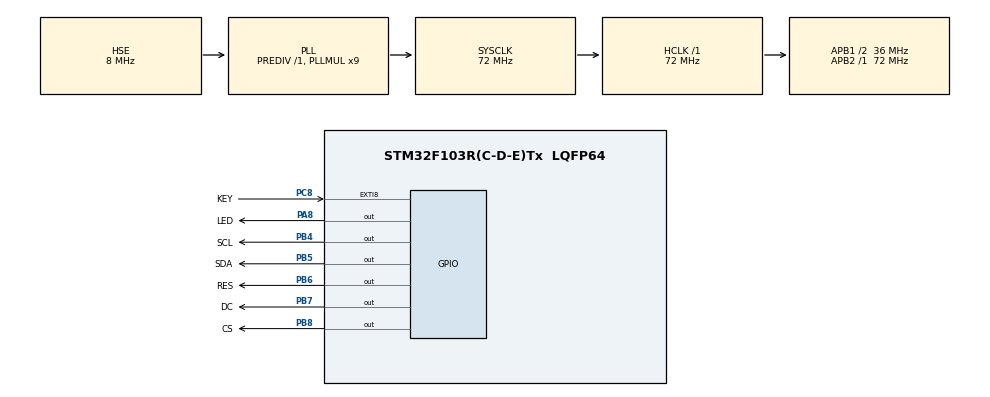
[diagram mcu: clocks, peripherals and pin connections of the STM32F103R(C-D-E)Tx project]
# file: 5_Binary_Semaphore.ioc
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FREERTOS.Tasks01=defaultTask,0,128,StartDefaultTask,Default,NULL,Dynamic,NULL,NULL
Mcu.Family=STM32F1
Mcu.Name=STM32F103R(C-D-E)Tx
Mcu.Package=LQFP64
NVIC.EXTI9_5_IRQn=true\:5\:0\:false\:false\:true\:true\:true\:true\:true
NVIC.PriorityGroup=NVIC_PRIORITYGROUP_4
NVIC.TIM8_UP_IRQn=true\:15\:0\:false\:false\:true\:false\:false\:true\:true
NVIC.TimeBase=TIM8_UP_IRQn
NVIC.TimeBaseIP=TIM8
PA13.Mode=Serial_Wire
PA13.Signal=SYS_JTMS-SWDIO
PA14.Mode=Serial_Wire
PA14.Signal=SYS_JTCK-SWCLK
PA8.GPIO_Label=LED
PA8.Signal=GPIO_Output
PB4.GPIO_Label=SCL
PB4.GPIO_Speed=GPIO_SPEED_FREQ_HIGH
PB4.Signal=GPIO_Output
PB5.GPIO_Label=SDA
PB5.GPIO_Speed=GPIO_SPEED_FREQ_HIGH
PB5.Signal=GPIO_Output
PB6.GPIO_Label=RES
PB6.GPIO_Speed=GPIO_SPEED_FREQ_HIGH
PB6.Signal=GPIO_Output
PB7.GPIO_Label=DC
PB7.GPIO_Speed=GPIO_SPEED_FREQ_HIGH
PB7.Signal=GPIO_Output
PB8.GPIO_Label=CS
PB8.GPIO_Speed=GPIO_SPEED_FREQ_HIGH
PB8.Signal=GPIO_Output
PC8.GPIO_Label=KEY
PC8.GPIO_PuPd=GPIO_PULLUP
PC8.Signal=GPXTI8
PD0-OSC_IN.Mode=HSE-External-Oscillator
PD0-OSC_IN.Signal=RCC_OSC_IN
PD1-OSC_OUT.Mode=HSE-External-Oscillator
PD1-OSC_OUT.Signal=RCC_OSC_OUT
ProjectManager.HeapSize=0x200
ProjectManager.StackSize=0x400
ProjectManager.TargetToolchain=Makefile
RCC.AHBFreq_Value=72000000
RCC.APB1CLKDivider=RCC_HCLK_DIV2
RCC.APB1Freq_Value=36000000
RCC.APB1TimFreq_Value=72000000
RCC.APB2Freq_Value=72000000
RCC.APB2TimFreq_Value=72000000
RCC.HCLKFreq_Value=72000000
RCC.PLLMUL=RCC_PLL_MUL9
RCC.PLLSourceVirtual=RCC_PLLSOURCE_HSE
RCC.SYSCLKFreq_VALUE=72000000
RCC.SYSCLKSource=RCC_SYSCLKSOURCE_PLLCLK
RCC.USBFreq_Value=72000000
VP_FREERTOS_VS_CMSIS_V1.Mode=CMSIS_V1
VP_SYS_VS_tim8.Mode=TIM8
board=custom

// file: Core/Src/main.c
/* USER CODE BEGIN Header */
/**
  ******************************************************************************
  * @file           : main.c
  * @brief          : Main program body
  ******************************************************************************
  * @attention
  *
  * Copyright (c) 2023 STMicroelectronics.
  * All rights reserved.
  *
  * This software is licensed under terms that can be found in the LICENSE file
  * in the root directory of this software component.
  * If no LICENSE file comes with this software, it is provided AS-IS.
  *
  ******************************************************************************
  */
/* USER CODE END Header */
#include "main.h"
#include "cmsis_os.h"
#include "gpio.h"

/* USER CODE BEGIN Includes */
#include "oled.h"
/* USER CODE END Includes */

void SystemClock_Config(void);
void MX_FREERTOS_Init(void);

int main(void)
{

  /* MCU Configuration--------------------------------------------------------*/

  /* Reset of all peripherals, Initializes the Flash interface and the Systick. */
  HAL_Init();

  /* Configure the system clock */
  SystemClock_Config();

  /* Initialize all configured peripherals */
  MX_GPIO_Init();
  /* USER CODE BEGIN 2 */
  OLED_Init();
  /* USER CODE END 2 */

  /* Call init function for freertos objects (in freertos.c) */
  MX_FREERTOS_Init();

  /* Start scheduler */
  osKernelStart();

  /* We should never get here as control is now taken by the scheduler */
  /* Infinite loop */
  while (1)
  {

  }
}

void SystemClock_Config(void)
{
  RCC_OscInitTypeDef RCC_OscInitStruct = {0};
  RCC_ClkInitTypeDef RCC_ClkInitStruct = {0};

  /** Initializes the RCC Oscillators according to the specified parameters
  * in the RCC_OscInitTypeDef structure.
  */
  RCC_OscInitStruct.OscillatorType = RCC_OSCILLATORTYPE_HSE;
  RCC_OscInitStruct.HSEState = RCC_HSE_ON;
  RCC_OscInitStruct.HSEPredivValue = RCC_HSE_PREDIV_DIV1;
  RCC_OscInitStruct.HSIState = RCC_HSI_ON;
  RCC_OscInitStruct.PLL.PLLState = RCC_PLL_ON;
  RCC_OscInitStruct.PLL.PLLSource = RCC_PLLSOURCE_HSE;
  RCC_OscInitStruct.PLL.PLLMUL = RCC_PLL_MUL9;
  if (HAL_RCC_OscConfig(&RCC_OscInitStruct) != HAL_OK)
  {
    Error_Handler();
  }

  /** Initializes the CPU, AHB and APB buses clocks
  */
  RCC_ClkInitStruct.ClockType = RCC_CLOCKTYPE_HCLK|RCC_CLOCKTYPE_SYSCLK
                              |RCC_CLOCKTYPE_PCLK1|RCC_CLOCKTYPE_PCLK2;
  RCC_ClkInitStruct.SYSCLKSource = RCC_SYSCLKSOURCE_PLLCLK;
  RCC_ClkInitStruct.AHBCLKDivider = RCC_SYSCLK_DIV1;
  RCC_ClkInitStruct.APB1CLKDivider = RCC_HCLK_DIV2;
  RCC_ClkInitStruct.APB2CLKDivider = RCC_HCLK_DIV1;

  if (HAL_RCC_ClockConfig(&RCC_ClkInitStruct, FLASH_LATENCY_2) != HAL_OK)
  {
    Error_Handler();
  }
}

void HAL_TIM_PeriodElapsedCallback(TIM_HandleTypeDef *htim)
{
  if (htim->Instance == TIM8) {
    HAL_IncTick();
  }
}

void Error_Handler(void)
{
  __disable_irq();
  while (1)
  {
  }
}

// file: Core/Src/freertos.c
/* USER CODE BEGIN Header */
/**
 ******************************************************************************
 * File Name          : freertos.c
 * Description        : Code for freertos applications
 ******************************************************************************
 * @attention
 *
 * Copyright (c) 2023 STMicroelectronics.
 * All rights reserved.
 *
 * This software is licensed under terms that can be found in the LICENSE file
 * in the root directory of this software component.
 * If no LICENSE file comes with this software, it is provided AS-IS.
 *
 ******************************************************************************
 */
/* USER CODE END Header */

#include "FreeRTOS.h"
#include "task.h"
#include "main.h"
#include "cmsis_os.h"

/* USER CODE BEGIN Includes */
#include "oled.h"
/* USER CODE END Includes */

/* USER CODE BEGIN Variables */
/* 信号量定义 */
osSemaphoreId xbinary_semaphore; // 二值信号量，用于任务同步
/* 线程定义 */
osThreadId OLED_Task_Handle;
osThreadId LED_Task_Handle;
/* USER CODE END Variables */
osThreadId defaultTaskHandle;

/* USER CODE BEGIN FunctionPrototypes */
void LED_Task(void const *argument);
void OLED_Task(void const *argument);
/* USER CODE END FunctionPrototypes */

void StartDefaultTask(void const *argument);

void MX_FREERTOS_Init(void); /* (MISRA C 2004 rule 8.1) */

/* GetIdleTaskMemory prototype (linked to static allocation support) */
void vApplicationGetIdleTaskMemory(StaticTask_t **ppxIdleTaskTCBBuffer, StackType_t **ppxIdleTaskStackBuffer, uint32_t *pulIdleTaskStackSize);

/* USER CODE BEGIN GET_IDLE_TASK_MEMORY */
static StaticTask_t xIdleTaskTCBBuffer;
static StackType_t xIdleStack[configMINIMAL_STACK_SIZE];

void vApplicationGetIdleTaskMemory(StaticTask_t **ppxIdleTaskTCBBuffer, StackType_t **ppxIdleTaskStackBuffer, uint32_t *pulIdleTaskStackSize)
{
    *ppxIdleTaskTCBBuffer   = &xIdleTaskTCBBuffer;
    *ppxIdleTaskStackBuffer = &xIdleStack[0];
    *pulIdleTaskStackSize   = configMINIMAL_STACK_SIZE;
    /* place for user code */
}
/* USER CODE END GET_IDLE_TASK_MEMORY */

void MX_FREERTOS_Init(void)
{

    /* USER CODE BEGIN RTOS_SEMAPHORES */
    /* add semaphores, ... */
    /* 二值信号量创建 */
    osSemaphoreDef(key_semaphore);
    xbinary_semaphore = osSemaphoreCreate(osSemaphore(key_semaphore), 1);
    /* USER CODE END RTOS_SEMAPHORES */

    /* Create the thread(s) */
    /* definition and creation of defaultTask */
    osThreadDef(defaultTask, StartDefaultTask, osPriorityNormal, 0, 128);
    defaultTaskHandle = osThreadCreate(osThread(defaultTask), NULL);

    /* USER CODE BEGIN RTOS_THREADS */
    /* add threads, ... */
    osThreadDef(LEDTask, LED_Task, osPriorityNormal, 0, 128);
    LED_Task_Handle = osThreadCreate(osThread(LEDTask), NULL);

    osThreadDef(OLEDTask, OLED_Task, osPriorityNormal, 0, 128);
    OLED_Task_Handle = osThreadCreate(osThread(OLEDTask), NULL);
    /* USER CODE END RTOS_THREADS */
}

void StartDefaultTask(void const *argument)
{
    for (;;) {
        osDelay(1);
    }
}

/* USER CODE BEGIN Application */
void OLED_Task(void const *argument)
{
    static uint32_t flag = 0;
    for (;;) {
        osSemaphoreWait(xbinary_semaphore, osWaitForever);
        flag++;
        OLED_ShowNum(0, 0, flag, 3, 6, 0);
    }
}

void LED_Task(void const *argument)
{
  for(;;)
  {
    HAL_GPIO_TogglePin(GPIOA,GPIO_PIN_8);
    osDelay(100);
  }
}

void HAL_GPIO_EXTI_Callback(uint16_t GPIO_Pin)
{
    if (GPIO_Pin == GPIO_PIN_8) {
        osSemaphoreRelease(xbinary_semaphore);
    }
}
/* USER CODE END Application */
